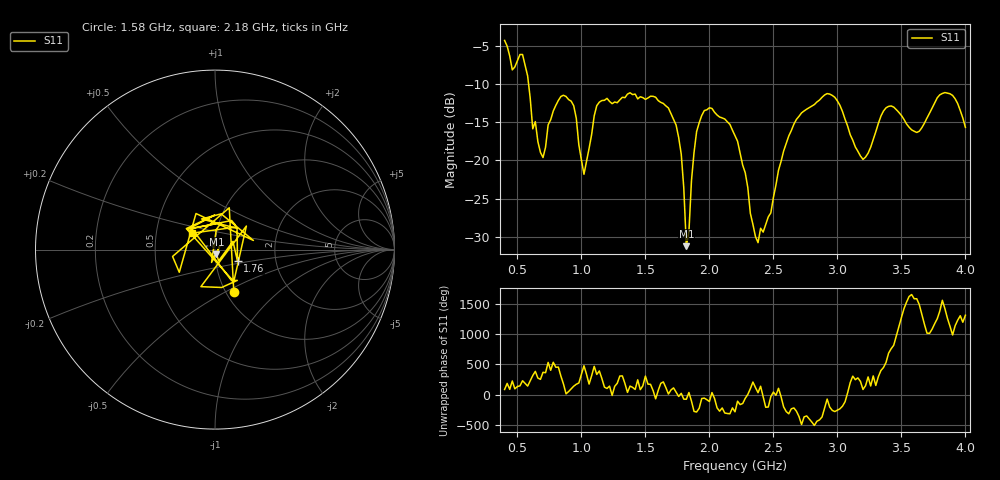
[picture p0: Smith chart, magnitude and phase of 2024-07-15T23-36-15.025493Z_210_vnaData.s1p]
!Created with skrf (http://scikit-rf.org).
# Hz S RI R 50.0
!freq ReS11 ImS11
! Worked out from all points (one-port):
!   181 points, 400 MHz to 4 GHz, reference 50 ohm
!   lowest |S11| = -31.2 dB at 1.82 GHz (marker M1), VSWR 1.06, Z = 50.7 - j2.68 ohm
!   |S11| at or under -10 dB: 587.2 MHz to end of sweep
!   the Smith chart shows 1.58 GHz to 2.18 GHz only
!   S11 on the Smith chart (normalised r, x): 1.58 GHz: 1.09, -0.55; 1.76 GHz: 1.27, -0.17; 2.18 GHz: 0.76, +0.14
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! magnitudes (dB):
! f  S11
! 400 MHz  -4.3
! 460 MHz  -8.2
! 540 MHz  -6.2
! 620 MHz  -15.9
! 700 MHz  -19.6
! 740 MHz  -15.3
! 860 MHz  -11.5
! 940 MHz  -12.9
! 1.02 GHz  -21.8
! 1.12 GHz  -12.8
! 1.3 GHz  -12.1
! 1.58 GHz  -11.7
! 1.76 GHz  -17.0
! 1.8 GHz  -23.6
! 1.82 GHz  -31.2
! 1.88 GHz  -18.9
! 1.94 GHz  -14.1
! 2.18 GHz  -16.0
! 2.2 GHz  -16.8
! 2.38 GHz  -30.7
! 2.66 GHz  -15.3
! 2.92 GHz  -11.3
! 3.1 GHz  -16.6
! 3.2 GHz  -19.9
! 3.38 GHz  -13.1
! 3.56 GHz  -15.7
! 3.84 GHz  -11.1
! 4 GHz  -15.7
